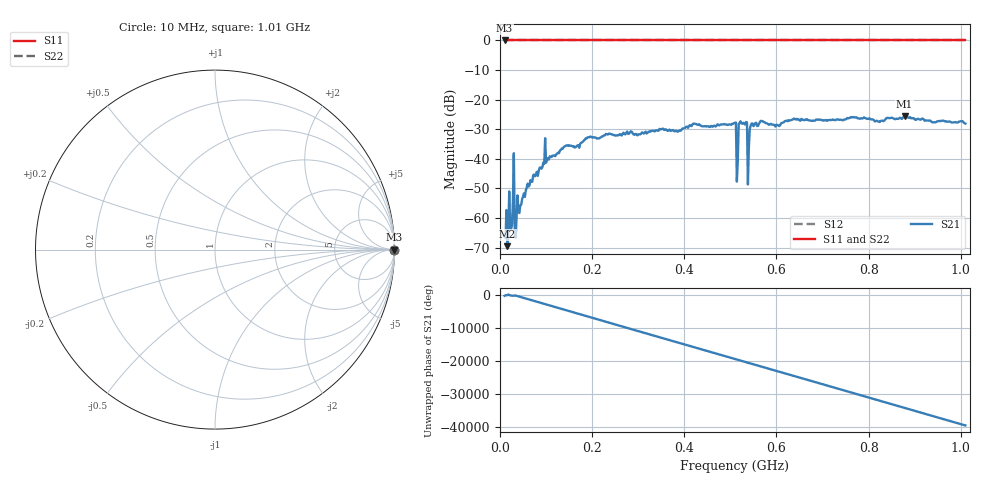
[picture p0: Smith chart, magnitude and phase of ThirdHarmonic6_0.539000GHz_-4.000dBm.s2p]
! 8/15/2025 4:53:33 PM
! C:\ANRITSUVNA\TEMP\TEMP.S2P
! CHANNEL.1
! TR.MEASUREMENT
! RAW.DATA
! RF.CORRECTION.OFF
! AVERAGING.OFF
! IF.BANDWIDTH: 5KHZ
! SWEEPTYPE:  FREQ.SWEEP(Linear)
! Reference Plane Port Info
! PORT:  PORT1  PORT2
! DISTANCE:  0  m  0  m
! TIME:  0  s  0  s
! PHASE.OFFSET:  0  deg.  0  deg.
! LOSS:  0  dB  0  dB
! REF.LOSS:  0  dB  0  dB
! REF.FREQ:  0  Hz  0  Hz
! Power Info
! POWER:  -20  dBm  -20  dBm
! EFF.POWER:  -20  dBm  -20  dBm
! SOURCE.ATTEN:  0  dB  0  dB
! TEST.ATTEN:  0  dB  0  dB
# GHZ S RI R 50.0
! FREQ.GHZ  S11RE  S11IM  S21RE  S21IM  S12RE  S12IM  S22RE  S22IM
!; PortSelection: Port_12
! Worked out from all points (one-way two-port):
!   501 points, 10 MHz to 1.01 GHz, reference 50 ohm
!   highest |S21| = -25.65 dB at 878 MHz (marker M1); lowest = -69.5 dB at 16 MHz (marker M2)
!   lowest |S11| = 0.0 dB at 10 MHz (marker M3)
!   |S11| at or under -10 dB: nowhere
!   |S22| runs from 0.0 to 0.0 dB; largest |S21 - S12| = 1.1
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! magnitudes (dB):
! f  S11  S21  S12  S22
! 10 MHz  0.0  -65.7  0.0  0.0
! 16 MHz  0.0  -69.5  0.0  0.0
! 20 MHz  0.0  -51.0  0.0  0.0
! 26 MHz  0.0  -62.3  0.0  0.0
! 34 MHz  0.0  -66.7  0.0  0.0
! 36 MHz  0.0  -59.9  0.0  0.0
! 56 MHz  0.0  -50.7  0.0  0.0
! 98 MHz  0.0  -33.0  0.0  0.0
! 178 MHz  0.0  -34.4  0.0  0.0
! 344 MHz  0.0  -30.5  0.0  0.0
! 508 MHz  0.0  -27.9  0.0  0.0
! 510 MHz  0.0  -27.8  0.0  0.0
! 518 MHz  0.0  -28.1  0.0  0.0
! 524 MHz  0.0  -28.0  0.0  0.0
! 532 MHz  0.0  -28.4  0.0  0.0
! 536 MHz  0.0  -27.7  0.0  0.0
! 542 MHz  0.0  -30.0  0.0  0.0
! 550 MHz  0.0  -28.9  0.0  0.0
! 678 MHz  0.0  -27.1  0.0  0.0
! 844 MHz  0.0  -26.2  0.0  0.0
! 878 MHz  0.0  -25.6  0.0  0.0
! 1.01 GHz  0.0  -28.1  0.0  0.0
